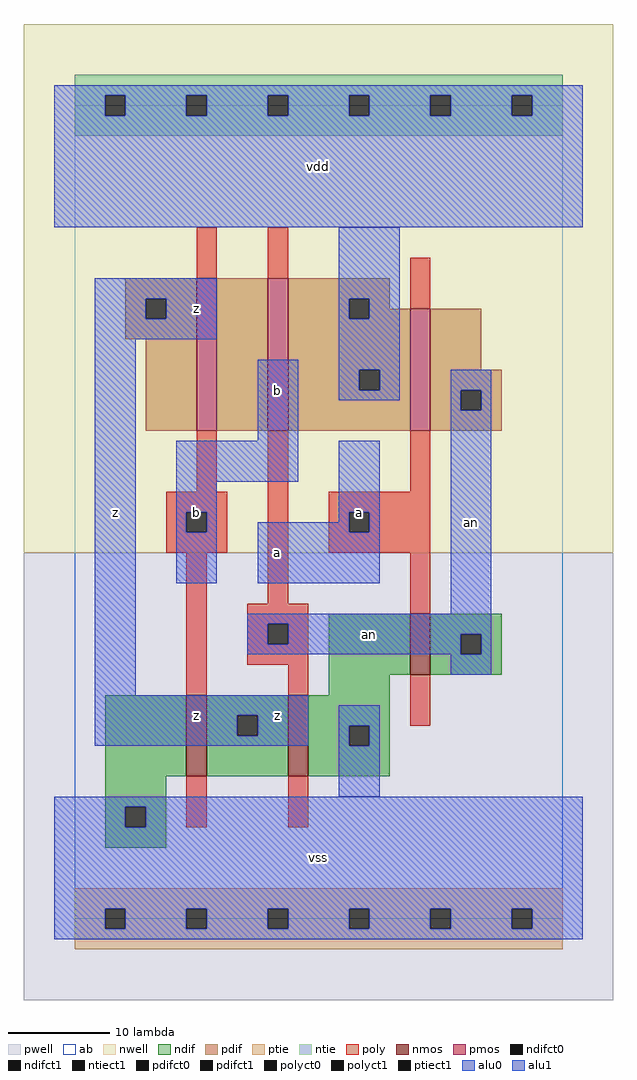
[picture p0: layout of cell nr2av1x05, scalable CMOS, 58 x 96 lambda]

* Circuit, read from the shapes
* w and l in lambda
.subckt nr2av1x05 a an b vdd vss z
M1 z b vss vss nfet w=8 l=2
M2 vss an z vss nfet w=8 l=2
M3 an a vss vss nfet w=6 l=2
M4 n1 b z vdd pfet w=15 l=2
M5 vdd an n1 vdd pfet w=15 l=2
M6 an a vdd vdd pfet w=12 l=2
.ends

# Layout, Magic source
magic
tech scmos
<< ab >>
rect 0 0 48 80
<< nwell >>
rect -5 36 53 88
<< pwell >>
rect -5 -8 53 36
<< poly >>
rect 12 63 14 68
rect 19 63 21 68
rect 33 60 35 65
rect 12 42 14 48
rect 9 40 15 42
rect 9 38 11 40
rect 13 38 15 40
rect 9 36 15 38
rect 11 22 13 36
rect 19 31 21 48
rect 33 42 35 48
rect 25 40 35 42
rect 25 38 27 40
rect 29 38 35 40
rect 25 36 35 38
rect 17 29 23 31
rect 33 30 35 36
rect 17 27 19 29
rect 21 27 23 29
rect 17 25 23 27
rect 21 22 23 25
rect 33 19 35 24
rect 11 9 13 14
rect 21 9 23 14
<< ndif >>
rect 25 24 33 30
rect 35 28 42 30
rect 35 26 38 28
rect 40 26 42 28
rect 35 24 42 26
rect 25 22 31 24
rect 3 14 11 22
rect 13 20 21 22
rect 13 18 16 20
rect 18 18 21 20
rect 13 14 21 18
rect 23 19 31 22
rect 23 17 27 19
rect 29 17 31 19
rect 23 14 31 17
rect 3 11 9 14
rect 3 9 5 11
rect 7 9 9 11
rect 3 7 9 9
<< pdif >>
rect 5 61 12 63
rect 5 59 7 61
rect 9 59 12 61
rect 5 57 12 59
rect 7 48 12 57
rect 14 48 19 63
rect 21 61 31 63
rect 21 59 27 61
rect 29 60 31 61
rect 29 59 33 60
rect 21 54 33 59
rect 21 52 28 54
rect 30 52 33 54
rect 21 48 33 52
rect 35 54 40 60
rect 35 52 42 54
rect 35 50 38 52
rect 40 50 42 52
rect 35 48 42 50
<< alu1 >>
rect -2 81 50 82
rect -2 79 3 81
rect 5 79 11 81
rect 13 79 19 81
rect 21 79 27 81
rect 29 79 35 81
rect 37 79 43 81
rect 45 79 50 81
rect -2 68 50 79
rect 2 61 14 63
rect 2 59 7 61
rect 9 59 14 61
rect 2 57 14 59
rect 2 22 6 57
rect 18 47 22 55
rect 10 43 22 47
rect 10 40 14 43
rect 10 38 11 40
rect 13 38 14 40
rect 26 40 30 47
rect 26 39 27 40
rect 10 33 14 38
rect 18 38 27 39
rect 29 38 30 40
rect 18 33 30 38
rect 2 20 23 22
rect 2 18 16 20
rect 18 18 23 20
rect 2 17 23 18
rect -2 11 50 12
rect -2 9 5 11
rect 7 9 50 11
rect -2 1 50 9
rect -2 -1 3 1
rect 5 -1 11 1
rect 13 -1 19 1
rect 21 -1 27 1
rect 29 -1 35 1
rect 37 -1 43 1
rect 45 -1 50 1
rect -2 -2 50 -1
<< ptie >>
rect 0 1 48 3
rect 0 -1 3 1
rect 5 -1 11 1
rect 13 -1 19 1
rect 21 -1 27 1
rect 29 -1 35 1
rect 37 -1 43 1
rect 45 -1 48 1
rect 0 -3 48 -1
<< ntie >>
rect 0 81 48 83
rect 0 79 3 81
rect 5 79 11 81
rect 13 79 19 81
rect 21 79 27 81
rect 29 79 35 81
rect 37 79 43 81
rect 45 79 48 81
rect 0 77 48 79
<< nmos >>
rect 33 24 35 30
rect 11 14 13 22
rect 21 14 23 22
<< pmos >>
rect 12 48 14 63
rect 19 48 21 63
rect 33 48 35 60
<< polyct0 >>
rect 19 27 21 29
<< polyct1 >>
rect 11 38 13 40
rect 27 38 29 40
<< ndifct0 >>
rect 38 26 40 28
rect 27 17 29 19
<< ndifct1 >>
rect 16 18 18 20
rect 5 9 7 11
<< ntiect1 >>
rect 3 79 5 81
rect 11 79 13 81
rect 19 79 21 81
rect 27 79 29 81
rect 35 79 37 81
rect 43 79 45 81
<< ptiect1 >>
rect 3 -1 5 1
rect 11 -1 13 1
rect 19 -1 21 1
rect 27 -1 29 1
rect 35 -1 37 1
rect 43 -1 45 1
<< pdifct0 >>
rect 27 59 29 61
rect 28 52 30 54
rect 38 50 40 52
<< pdifct1 >>
rect 7 59 9 61
<< alu0 >>
rect 26 61 32 68
rect 26 59 27 61
rect 29 59 32 61
rect 26 54 32 59
rect 26 52 28 54
rect 30 52 32 54
rect 26 51 32 52
rect 37 52 41 54
rect 37 50 38 52
rect 40 50 41 52
rect 37 30 41 50
rect 17 29 41 30
rect 17 27 19 29
rect 21 28 41 29
rect 21 27 38 28
rect 17 26 38 27
rect 40 26 41 28
rect 37 24 41 26
rect 26 19 30 21
rect 26 17 27 19
rect 29 17 30 19
rect 26 12 30 17
<< labels >>
rlabel alu0 29 28 29 28 6 an
rlabel alu0 39 39 39 39 6 an
rlabel alu1 4 40 4 40 6 z
rlabel alu1 20 20 20 20 6 z
rlabel alu1 12 20 12 20 6 z
rlabel alu1 20 36 20 36 6 a
rlabel alu1 12 40 12 40 6 b
rlabel alu1 20 52 20 52 6 b
rlabel alu1 12 60 12 60 6 z
rlabel alu1 24 6 24 6 6 vss
rlabel alu1 28 40 28 40 6 a
rlabel alu1 24 74 24 74 6 vdd
<< end >>
